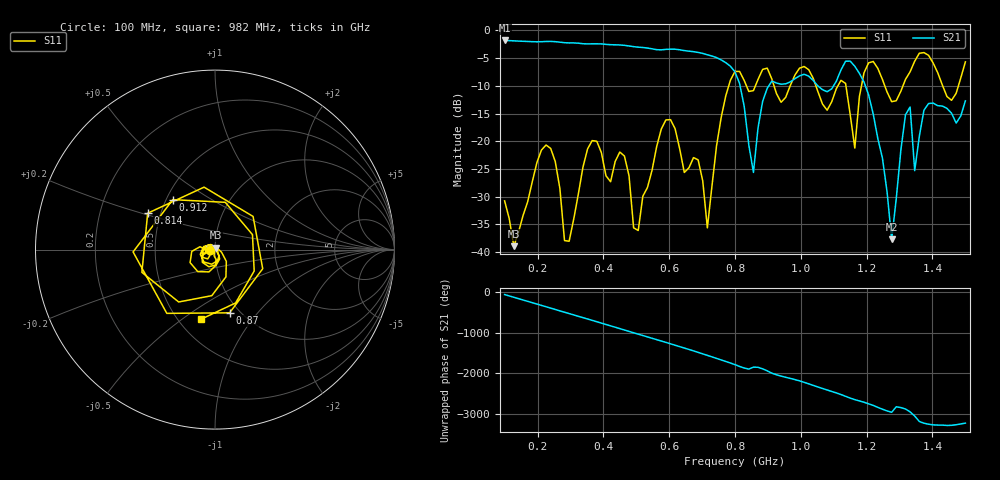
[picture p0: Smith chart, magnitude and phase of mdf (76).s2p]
! NanoVNA-App
! Date: 2025-09-25 15:39:01
! Start: 100MHz Stop: 1,5GHz Points: 101
! S-Parameter data: F S11 S21 S12 S22
# Hz S RI R 50
!  Frequency  S11_Real  S11_Imag  S21_Real  S21_Imag  S12_Real  S12_Imag  S22_Real  S22_Imag
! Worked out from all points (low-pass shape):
!   101 points, 100 MHz to 1.5 GHz, reference 50 ohm
!   highest |S21| = -1.80 dB at 100 MHz (marker M1); lowest = -37.7 dB at 1.276 GHz (marker M2)
!   |S21| within 3 dB of the highest: start of sweep to 739.3 MHz
!   lowest |S11| = -38.9 dB at 128 MHz (marker M3), VSWR 1.02, Z = 50.3 + j1.08 ohm
!   |S11| at or under -10 dB: start of sweep to 781 MHz; 1.046 GHz to 1.113 GHz (66.83 MHz wide, 6.19 % of centre); 1.255 GHz to 1.31 GHz (55.22 MHz wide, 4.3 % of centre)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
!   S12 and S22 are empty: the file has one direction only
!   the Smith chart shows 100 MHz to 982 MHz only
!   S11 on the Smith chart (normalised r, x): 100 MHz: 0.94, -0.01; 814 MHz: 0.42, +0.21; 870 MHz: 0.90, -0.73; 912 MHz: 0.54, +0.35; 982 MHz: 0.64, -0.59
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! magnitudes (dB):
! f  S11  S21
! 100 MHz  -30.8  -1.8
! 128 MHz  -38.9  -1.9
! 212 MHz  -21.6  -2.0
! 282 MHz  -37.9  -2.2
! 338 MHz  -24.7  -2.4
! 464 MHz  -22.7  -2.7
! 506 MHz  -36.1  -3.0
! 576 MHz  -17.8  -3.5
! 716 MHz  -35.6  -4.4
! 800 MHz  -7.4  -7.5
! 814 MHz  -7.4  -9.6
! 856 MHz  -10.9  -25.6
! 870 MHz  -8.8  -17.6
! 912 MHz  -8.8  -9.1
! 982 MHz  -8.1  -8.7
! 1.038 GHz  -8.7  -9.1
! 1.164 GHz  -21.2  -6.5
! 1.192 GHz  -7.6  -9.3
! 1.276 GHz  -12.9  -37.7
! 1.318 GHz  -8.8  -15.2
! 1.346 GHz  -5.5  -25.3
! 1.5 GHz  -5.7  -12.7
